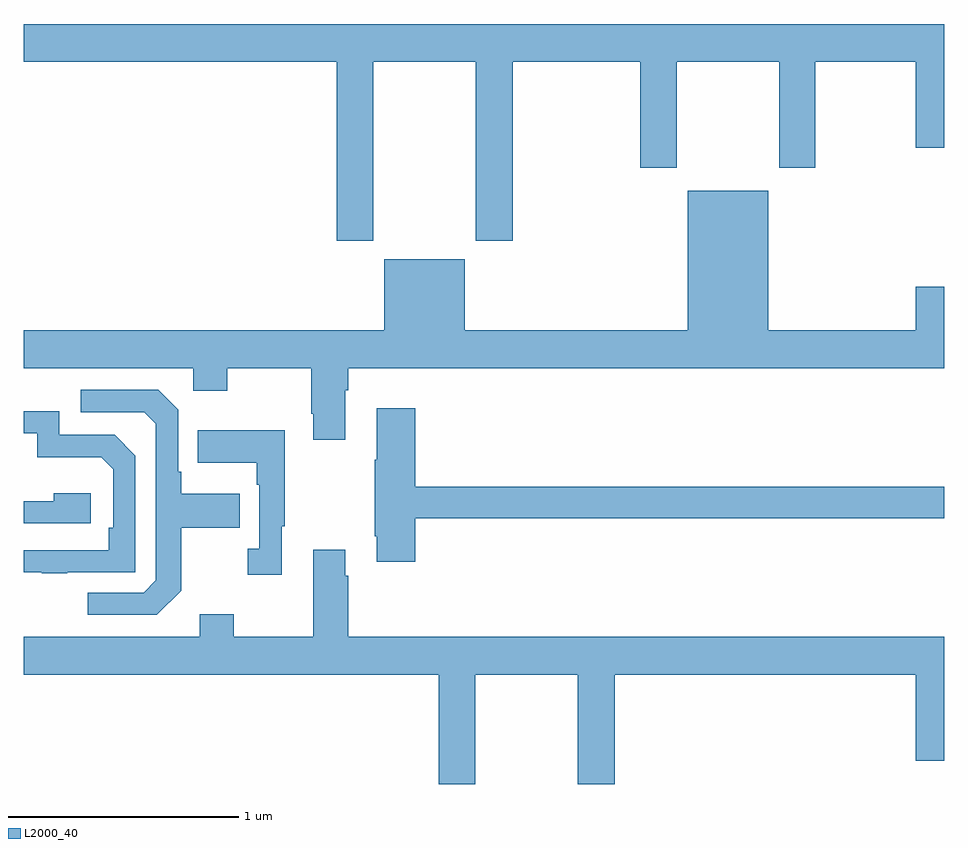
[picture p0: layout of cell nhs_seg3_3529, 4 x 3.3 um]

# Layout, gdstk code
import gdstk
lib = gdstk.Library(unit=1e-6, precision=1e-09)
def P(c, l, *ps):  # polygons
    for p in ps: c.add(gdstk.Polygon(p, *l))
L2000_40 = (2000, 40)

nhs_seg3_3529 = lib.new_cell('nhs_seg3_3529')
P(nhs_seg3_3529, L2000_40, [(294.519,743.54),(294.964,743.54),(294.964,742.761),(295.124,742.761),(295.124,743.54),(295.679,743.54),(295.679,743.079),(295.839,743.079),(295.839,743.54),(296.284,743.54),(296.284,743.079),(296.439,743.079),(296.439,743.54),(296.876,743.54),(296.876,743.166),(297,743.166),(297,743.704),(293,743.704),(293,743.54),(294.359,743.54),(294.359,742.761),(294.519,742.761)],
  [(294.397,742.112),(294.41,742.112),(294.41,742.208),(297,742.208),(297,742.561),(296.876,742.561),(296.876,742.372),(296.236,742.372),(296.236,742.978),(295.886,742.978),(295.886,742.372),(294.916,742.372),(294.916,742.681),(294.566,742.681),(294.566,742.372),(293,742.372),(293,742.208),(293.736,742.208),(293.736,742.109),(293.883,742.109),(293.883,742.208),(294.25,742.208),(294.25,742.009),(294.257,742.009),(294.257,741.897),(294.397,741.897)],
  [(293.683,741.241),(293.683,741.514),(293.939,741.514),(293.939,741.661),(293.683,741.661),(293.683,741.757),(293.67,741.757),(293.67,742.026),(293.583,742.113),(293.247,742.113),(293.247,742.017),(293.523,742.017),(293.574,741.966),(293.574,741.285),(293.52,741.231),(293.277,741.231),(293.277,741.135),(293.577,741.135)],
  [(294.701,741.556),(297,741.556),(297,741.692),(294.701,741.692),(294.701,742.033),(294.533,742.033),(294.533,741.809),(294.526,741.809),(294.526,741.478),(294.533,741.478),(294.533,741.366),(294.701,741.366)],
  [(293.189,741.321),(293.484,741.321),(293.484,741.828),(293.394,741.918),(293.154,741.918),(293.154,742.02),(293,742.02),(293,741.924),(293.058,741.924),(293.058,741.821),(293.335,741.821),(293.388,741.768),(293.388,741.514),(293.368,741.514),(293.368,741.417),(293,741.417),(293,741.321),(293.077,741.321),(293.077,741.316),(293.189,741.316)],
  [(294.121,741.521),(294.133,741.521),(294.133,741.937),(293.755,741.937),(293.755,741.797),(294.012,741.797),(294.012,741.701),(294.024,741.701),(294.024,741.422),(293.973,741.422),(293.973,741.309),(294.121,741.309)],
  [(293.29,741.664),(293.129,741.664),(293.129,741.63),(293,741.63),(293,741.534),(293.29,741.534)],
  [(294.803,740.4),(294.963,740.4),(294.963,740.876),(295.408,740.876),(295.408,740.4),(295.568,740.4),(295.568,740.876),(296.876,740.876),(296.876,740.502),(297,740.502),(297,741.04),(294.41,741.04),(294.41,741.305),(294.397,741.305),(294.397,741.418),(294.257,741.418),(294.257,741.04),(293.913,741.04),(293.913,741.139),(293.765,741.139),(293.765,741.04),(293,741.04),(293,740.876),(294.803,740.876)])

lib.write_gds('nhs_seg3_3529.gds')
